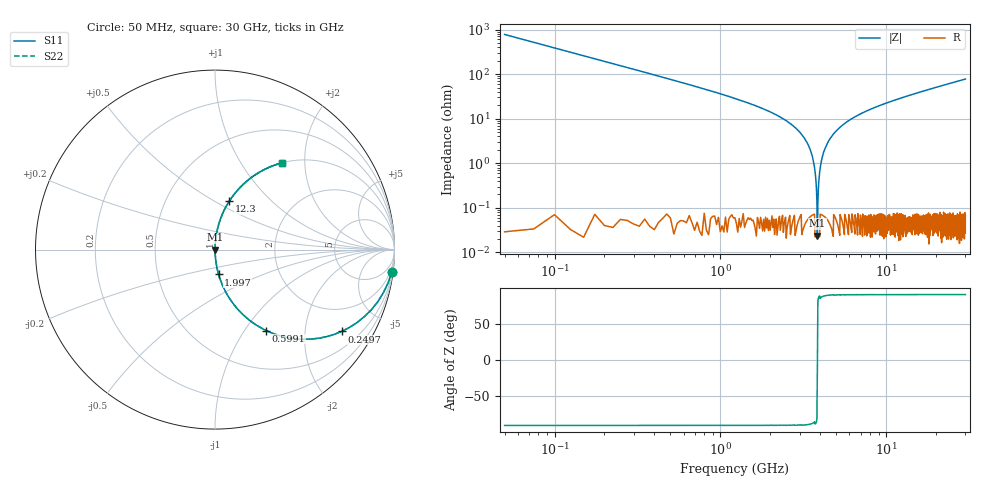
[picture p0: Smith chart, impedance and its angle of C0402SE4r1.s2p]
!	AVX Thin Film Operation 	Date: April 2014
!	Description: Accu-P® Series, Thin Film  SMD RF Capacitor
!	Part Number: 04025J4R1ABSTR
# MHZ S MA R 50
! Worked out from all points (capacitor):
!   1201 points, 50 MHz to 30 GHz, reference 50 ohm
!   read as one part in series: C = 4.1 pF near 199.8 MHz
!   lowest |Z| = 24 mohm at 3.844 GHz (marker M1)
!   series resonance near 3.845 GHz, so ESL is about 420 pH
!   S11 on the Smith chart (normalised r, x): 50 MHz: 1, -16; 249.7 MHz: 1.00, -3.10; 599.1 MHz: 1.00, -1.26; 1.997 GHz: 1.00, -0.28; 12.3 GHz: 1.00, +0.58; 30 GHz: 1.00, +1.55
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50  0.992 -7.3  0.128 82.7  0.128 82.7  0.992 -7.3
249.667  0.84 -32.9  0.542 57.1  0.542 57.1  0.84 -32.9
599.083  0.534 -57.7  0.845 32.3  0.845 32.3  0.534 -57.7
1073.292  0.316 -71.5  0.948 18.4  0.948 18.4  0.316 -71.5
1996.75  0.14 -81.7  0.99 8.1  0.99 8.1  0.14 -81.7
2820.375  0.063 -85.9  0.998 3.6  0.998 3.6  0.063 -85.9
3294.583  0.031 -87.3  0.999 1.8  0.999 1.8  0.031 -87.3
3544.167  0.016 -87.4  0.999 0.9  0.999 0.9  0.016 -87.4
3644  0.011 -86.9  0.999 0.6  0.999 0.6  0.011 -86.9
3743.833  0.005377 -84.7  1 0.3  1 0.3  0.005377 -84.7
3843.667  0.0004735 -5.3  1 0.0  1 0.0  0.0004735 -5.3
3943.5  0.005154 84.5  1 -0.3  1 -0.3  0.005154 84.5
4093.25  0.013 87.1  0.999 -0.7  0.999 -0.7  0.013 87.1
4267.958  0.021 87.5  0.999 -1.2  0.999 -1.2  0.021 87.5
5041.667  0.055 86.3  0.998 -3.2  0.998 -3.2  0.055 86.3
6863.625  0.123 82.7  0.992 -7.0  0.992 -7.0  0.123 82.7
10058.29  0.22 77.2  0.975 -12.7  0.975 -12.7  0.22 77.2
12304.54  0.28 73.7  0.96 -16.2  0.96 -16.2  0.28 73.7
15025  0.346 69.7  0.938 -20.2  0.938 -20.2  0.346 69.7
20016.67  0.452 63.1  0.892 -26.8  0.892 -26.8  0.452 63.1
25033.29  0.54 57.3  0.841 -32.7  0.841 -32.7  0.54 57.3
30000  0.612 52.2  0.79 -37.8  0.79 -37.8  0.612 52.2
